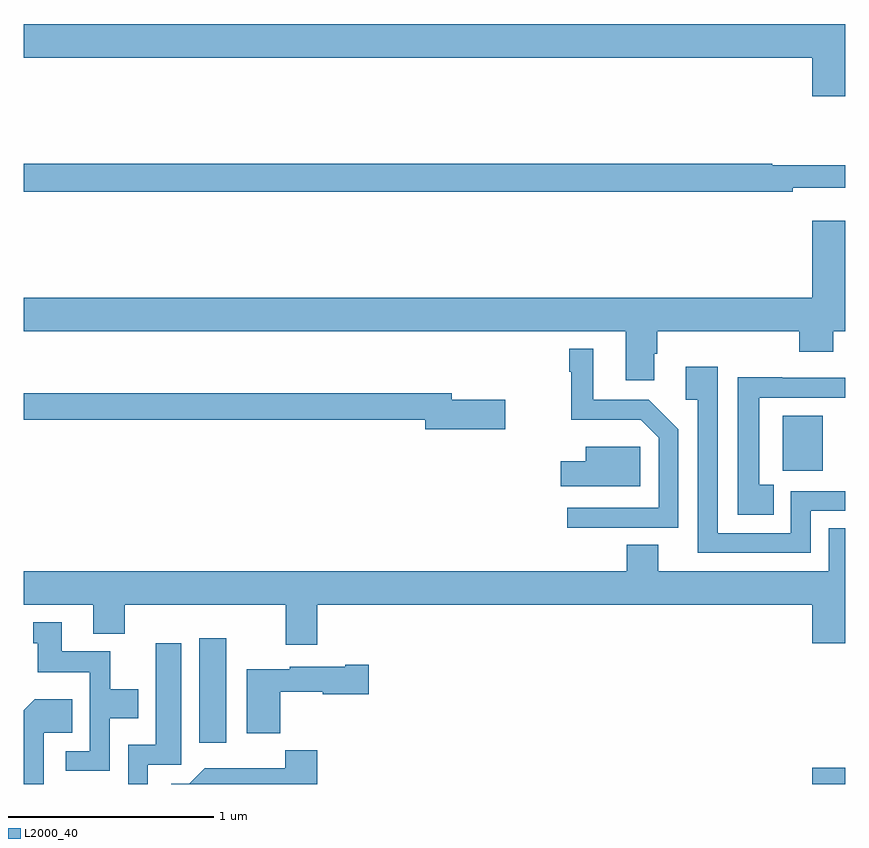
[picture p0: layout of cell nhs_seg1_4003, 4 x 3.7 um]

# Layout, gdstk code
import gdstk
lib = gdstk.Library(unit=1e-6, precision=1e-09)
def R(c, l, rs):  # rectangles x0, y0, x1, y1
    for r in rs: c.add(gdstk.rectangle(r[:2], r[2:], *l))
def P(c, l, *ps):  # polygons
    for p in ps: c.add(gdstk.Polygon(p, *l))
L2000_40 = (2000, 40)

nhs_seg1_4003 = lib.new_cell('nhs_seg1_4003')
R(nhs_seg1_4003, L2000_40, [(332.84,544.199,333,544.279), (329.855,544.401,329.986,544.909), (332.696,545.724,332.89,545.992)])
P(nhs_seg1_4003, L2000_40, [(333,547.9),(329,547.9),(329,547.736),(332.84,547.736),(332.84,547.548),(333,547.548)],
  [(332.744,547.103),(333,547.103),(333,547.213),(332.645,547.213),(332.645,547.22),(329,547.22),(329,547.084),(332.744,547.084)],
  [(329,546.404),(331.931,546.404),(331.931,546.165),(332.071,546.165),(332.071,546.293),(332.084,546.293),(332.084,546.404),(332.777,546.404),(332.777,546.305),(332.942,546.305),(332.942,546.404),(333,546.404),(333,546.943),(332.84,546.943),(332.84,546.568),(329,546.568)],
  [(332.187,545.926),(332.044,546.069),(331.774,546.069),(331.774,546.319),(331.657,546.319),(331.657,546.206),(331.665,546.206),(331.665,545.972),(332.005,545.972),(332.091,545.886),(332.091,545.544),(331.647,545.544),(331.647,545.448),(332.187,545.448)],
  [(332.832,545.529),(333,545.529),(333,545.625),(332.736,545.625),(332.736,545.421),(332.379,545.421),(332.379,546.232),(332.223,546.232),(332.223,546.071),(332.283,546.071),(332.283,545.325),(332.832,545.325)],
  [(332.651,545.657),(332.581,545.657),(332.581,546.081),(333,546.081),(333,546.177),(332.693,546.177),(332.693,546.18),(332.477,546.18),(332.477,545.51),(332.651,545.51)],
  [(331.345,546.069),(331.084,546.069),(331.084,546.103),(329,546.103),(329,545.974),(330.956,545.974),(330.956,545.927),(331.345,545.927)],
  [(332.001,545.842),(331.736,545.842),(331.736,545.77),(331.614,545.77),(331.614,545.648),(332.001,545.648)],
  [(330.428,545.072),(332.84,545.072),(332.84,544.884),(333,544.884),(333,545.444),(332.921,545.444),(332.921,545.236),(332.089,545.236),(332.089,545.363),(331.937,545.363),(331.937,545.236),(329,545.236),(329,545.072),(329.339,545.072),(329.339,544.931),(329.492,544.931),(329.492,545.072),(330.275,545.072),(330.275,544.878),(330.428,544.878)],
  [(329.418,544.52),(329.557,544.52),(329.557,544.66),(329.421,544.66),(329.421,544.846),(329.185,544.846),(329.185,544.987),(329.045,544.987),(329.045,544.884),(329.069,544.884),(329.069,544.742),(329.322,544.742),(329.322,544.359),(329.205,544.359),(329.205,544.263),(329.418,544.263)],
  [(329.604,544.293),(329.767,544.293),(329.767,544.885),(329.642,544.885),(329.642,544.39),(329.508,544.39),(329.508,544.199),(329.604,544.199)],
  [(330.248,544.649),(330.456,544.649),(330.456,544.637),(330.679,544.637),(330.679,544.779),(330.566,544.779),(330.566,544.771),(330.294,544.771),(330.294,544.759),(330.086,544.759),(330.086,544.445),(330.248,544.445)],
  [(329.098,544.448),(329.237,544.448),(329.237,544.612),(329.054,544.612),(329,544.558),(329,544.199),(329.098,544.199)],
  [(330.428,544.363),(330.273,544.363),(330.273,544.276),(329.881,544.276),(329.805,544.2),(329.717,544.2),(329.717,544.199),(330.428,544.199)])

lib.write_gds('nhs_seg1_4003.gds')
